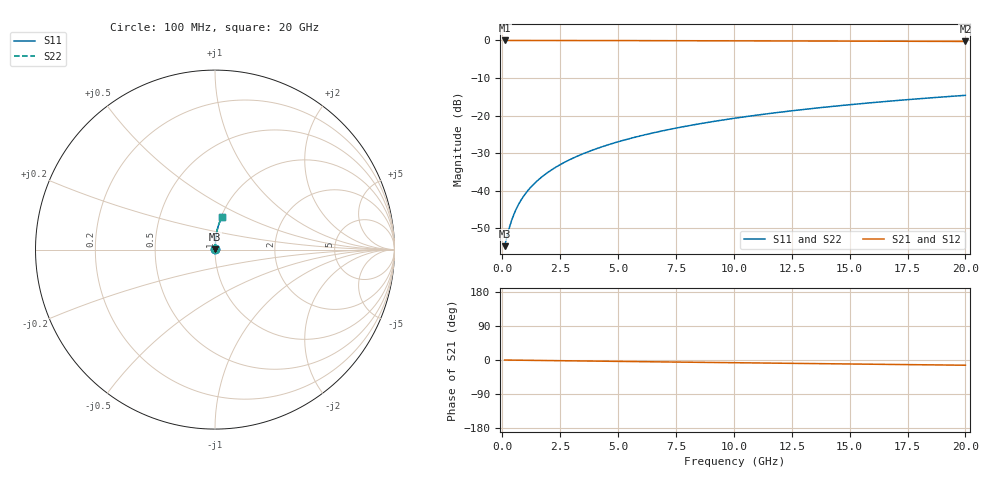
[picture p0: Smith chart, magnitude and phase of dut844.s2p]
! Touchstone file exported from HFSS 2024.1.0
!  File:  C:/UserFiles/LocalFiles/RDL_TSV_Batchsim/temp_RDL_top_844_1779855424.aedt
!  Generated:  12:19:12 PM May 27, 2026
!  Design:  RDL_top
!  Project:  temp_RDL_top_844_1779855424
!  Setup:  Setup1
!  Solution:  Sweep
! Variables:
!  dtsv = 10.80580581um
!  hbump = 3um
!  htsv = 73.97um
!  ldown = 100um
!  lrdl = 120.11um
!  p = 40
!  p1 = 56.52um
!  rhole = 1um
!  t = 450um
!  tdown = 3.915915916um
!  trdl = 2.04um
!  wdown = 15.38538539um
!  wrdl = 17.5um
# GHz S MA R 50.000000
! Terminal data exported
! Port[1] = Box2_T1
! Port[2] = Box2_T2
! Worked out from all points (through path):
!   200 points, 100 MHz to 20 GHz, reference 50 ohm
!   highest |S21| = -0.01 dB at 100 MHz (marker M1); lowest = -0.3 dB at 20 GHz (marker M2)
!   group delay of S21, straight-line fit = 1.91 ps
!   lowest |S11| = -54.7 dB at 100 MHz (marker M3), VSWR 1.00, Z = 50.2 + j0.0927 ohm
!   |S11| at or under -10 dB: start of sweep to end of sweep
!   |S22| runs from -54.7 to -14.6 dB; largest |S21 - S12| = 2.8e-15
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0.1  0.001836 30.2  0.9984 -0.1  0.9984 -0.1  0.001836 30.2
! Gamma 0 0 0 0
! Port Impedance 50 0 50 0
0.3  0.003202 59.5  0.9984 -0.2  0.9984 -0.2  0.003202 59.5
0.4  0.00402 65.7  0.9983 -0.3  0.9983 -0.3  0.00402 65.7
0.5  0.004864 69.7  0.9983 -0.4  0.9983 -0.4  0.004864 69.7
0.6  0.005719 72.5  0.9982 -0.5  0.9982 -0.5  0.005719 72.5
0.8  0.007439 76.2  0.9981 -0.6  0.9981 -0.6  0.007439 76.2
1.1  0.01003 79.4  0.998 -0.8  0.998 -0.8  0.01003 79.4
1.5  0.0135 81.8  0.9978 -1.1  0.9978 -1.1  0.0135 81.8
1.8  0.01612 83.0  0.9976 -1.4  0.9976 -1.4  0.01612 83.0
2.1  0.01875 83.8  0.9974 -1.6  0.9974 -1.6  0.01875 83.8
2.7  0.02405 85.0  0.997 -2.0  0.997 -2.0  0.02405 85.0
3.5  0.03121 85.8  0.9963 -2.6  0.9963 -2.6  0.03121 85.8
4.2  0.03754 86.2  0.9955 -3.1  0.9955 -3.1  0.03754 86.2
5  0.04487 86.4  0.9946 -3.7  0.9946 -3.7  0.04487 86.4
5.9  0.0532 86.4  0.9935 -4.3  0.9935 -4.3  0.0532 86.4
6.8  0.06162 86.2  0.9922 -5.0  0.9922 -5.0  0.06162 86.2
8.3  0.07579 85.7  0.99 -6.0  0.99 -6.0  0.07579 85.7
10.1  0.09295 84.8  0.9872 -7.2  0.9872 -7.2  0.09295 84.8
11.7  0.1082 83.8  0.9845 -8.3  0.9845 -8.3  0.1082 83.8
13.4  0.1244 82.7  0.9816 -9.5  0.9816 -9.5  0.1244 82.7
16.7  0.1556 80.4  0.9755 -11.6  0.9755 -11.6  0.1556 80.4
20  0.1861 78.1  0.9688 -13.8  0.9688 -13.8  0.1861 78.1
